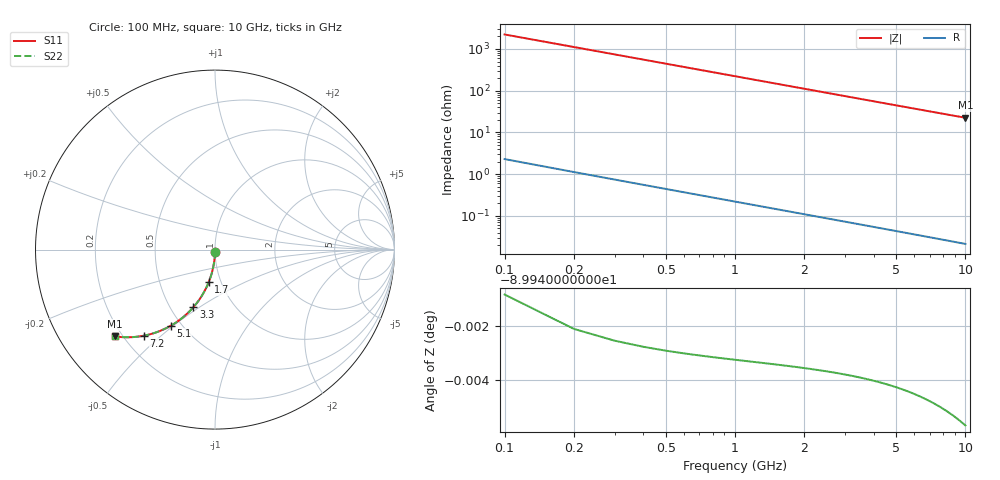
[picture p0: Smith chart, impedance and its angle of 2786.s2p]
# Hz S RI R 50.00
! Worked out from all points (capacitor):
!   100 points, 100 MHz to 10 GHz, reference 50 ohm
!   read as one part in shunt: C = 716 fF near 100 MHz
!   lowest |Z| = 22.5 ohm at 10 GHz (marker M1)
!   S11 on the Smith chart (normalised r, x): 100 MHz: 1.00, -0.02; 1.7 GHz: 0.87, -0.33; 3.3 GHz: 0.65, -0.47; 5.1 GHz: 0.44, -0.49; 7.2 GHz: 0.28, -0.44; 10 GHz: 0.17, -0.36
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1e8  -9.89e-05 -0.0111  0.9998 -0.0114  0.9998 -0.0114  -9.89e-05 -0.0111
2e8  -0.000489 -0.0222  0.9994 -0.0227  0.9994 -0.0227  -0.000489 -0.0222
3e8  -0.00113 -0.0333  0.9988 -0.0341  0.9988 -0.0341  -0.00113 -0.0333
4e8  -0.00202 -0.0444  0.9979 -0.0454  0.9979 -0.0454  -0.00202 -0.0444
5e8  -0.00316 -0.0554  0.9968 -0.0566  0.9968 -0.0566  -0.00316 -0.0554
6e8  -0.00455 -0.0664  0.9954 -0.0679  0.9954 -0.0679  -0.00455 -0.0664
8e8  -0.00807 -0.0882  0.9918 -0.0902  0.9918 -0.0902  -0.00807 -0.0882
9e8  -0.0102 -0.099  0.9897 -0.1012  0.9897 -0.1012  -0.0102 -0.099
1.1e9  -0.0151 -0.1204  0.9848 -0.1231  0.9848 -0.1231  -0.0151 -0.1204
1.4e9  -0.0243 -0.1518  0.9756 -0.1553  0.9756 -0.1553  -0.0243 -0.1518
1.7e9  -0.0354 -0.1822  0.9645 -0.1864  0.9645 -0.1864  -0.0354 -0.1822
1.8e9  -0.0395 -0.1921  0.9604 -0.1966  0.9604 -0.1966  -0.0395 -0.1921
2.1e9  -0.053 -0.2209  0.947 -0.2261  0.947 -0.2261  -0.053 -0.2209
2.5e9  -0.0734 -0.2573  0.9265 -0.2635  0.9265 -0.2635  -0.0734 -0.2573
3.3e9  -0.1212 -0.3219  0.8787 -0.3301  0.8787 -0.3301  -0.1212 -0.3219
3.4e9  -0.1277 -0.3291  0.8722 -0.3376  0.8722 -0.3376  -0.1277 -0.3291
4.2e9  -0.1826 -0.3807  0.8172 -0.3911  0.8172 -0.3911  -0.1826 -0.3807
5.1e9  -0.2478 -0.4249  0.752 -0.4377  0.752 -0.4377  -0.2478 -0.4249
6.7e9  -0.3626 -0.4719  0.6372 -0.4887  0.6372 -0.4887  -0.3626 -0.4719
7.2e9  -0.3966 -0.4796  0.6032 -0.4978  0.6032 -0.4978  -0.3966 -0.4796
8.4e9  -0.4724 -0.4881  0.5273 -0.5094  0.5273 -0.5094  -0.4724 -0.4881
1e10  -0.5596 -0.4832  0.44 -0.5086  0.44 -0.5086  -0.5596 -0.4832
